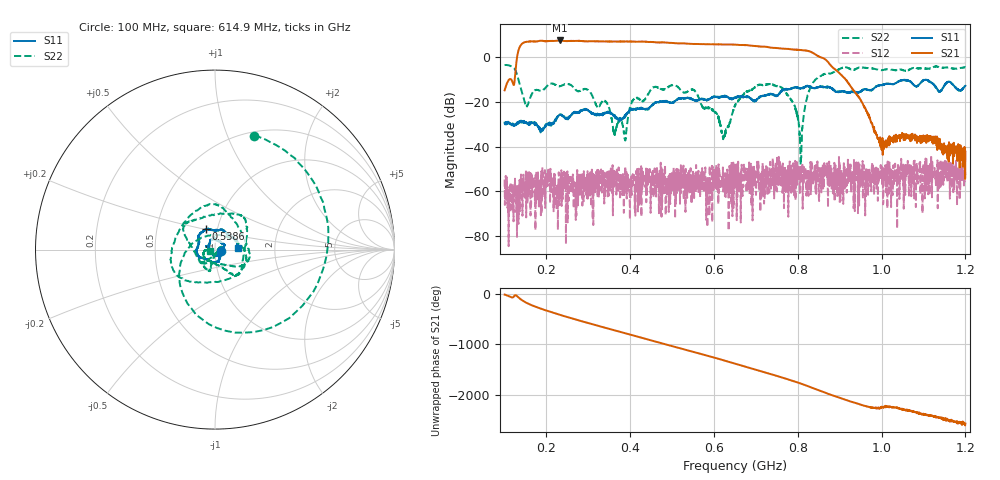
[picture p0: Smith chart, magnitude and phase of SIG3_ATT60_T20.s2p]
# Hz S DB R 50
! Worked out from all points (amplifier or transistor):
!   1601 points, 100 MHz to 1.2 GHz, reference 50 ohm
!   highest |S21| = 7.6 dB at 232 MHz (marker M1)
!   |S21| within 3 dB of that: 135.9 MHz to 728.4 MHz (592.5 MHz wide, 137 % of centre)
!   unconditionally stable (mu >= 1): start of sweep to end of sweep
!   at 282.9 MHz: K = 86.49, MAG = 7.5 dB, |S12| = -52.5 dB
!   at 650 MHz: K = 64.53, MAG = 5.8 dB, |S12| = -48.1 dB
!   at 1.2 GHz: K = 17042.17, MAG = -40.0 dB, |S12| = -52.9 dB
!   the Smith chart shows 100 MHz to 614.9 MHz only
!   S11 on the Smith chart (normalised r, x): 100 MHz: 1.07, -0.01; 538.6 MHz: 0.88, +0.20; 614.9 MHz: 1.29, +0.02
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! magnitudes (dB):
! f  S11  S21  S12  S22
! 100 MHz  -29.2  -14.8  -54.7  -3.5
! 112.4 MHz  -29.5  -9.7  -59.8  -3.7
! 152.2 MHz  -29.5  7.0  -51.7  -22.0
! 232 MHz  -25.6  7.6  -63.5  -12.8
! 283.6 MHz  -23.7  7.3  -53.7  -14.7
! 341.3 MHz  -24.7  7.1  -53.2  -19.7
! 361.9 MHz  -25.8  7.1  -50.8  -34.5
! 386.7 MHz  -25.9  7.1  -53.3  -36.4
! 408 MHz  -23.1  7.1  -56.1  -18.8
! 467.1 MHz  -20.2  6.7  -53.4  -13.5
! 538.6 MHz  -18.1  6.1  -55.5  -15.0
! 614.9 MHz  -17.9  5.8  -57.5  -30.6
! 624.6 MHz  -17.2  5.8  -58.2  -35.5
! 650 MHz  -18.3  5.7  -48.1  -21.3
! 757.9 MHz  -15.6  4.0  -52.9  -13.2
! 792.3 MHz  -13.4  3.5  -54.8  -21.5
! 806.8 MHz  -14.0  3.3  -51.7  -48.2
! 833.6 MHz  -13.5  2.3  -51.9  -12.2
! 913.3 MHz  -15.4  -9.8  -53.7  -4.4
! 997.2 MHz  -12.5  -39.8  -55.0  -5.7
! 1.017 GHz  -11.9  -35.9  -62.0  -5.3
! 1.2 GHz  -12.7  -42.2  -52.9  -4.4
